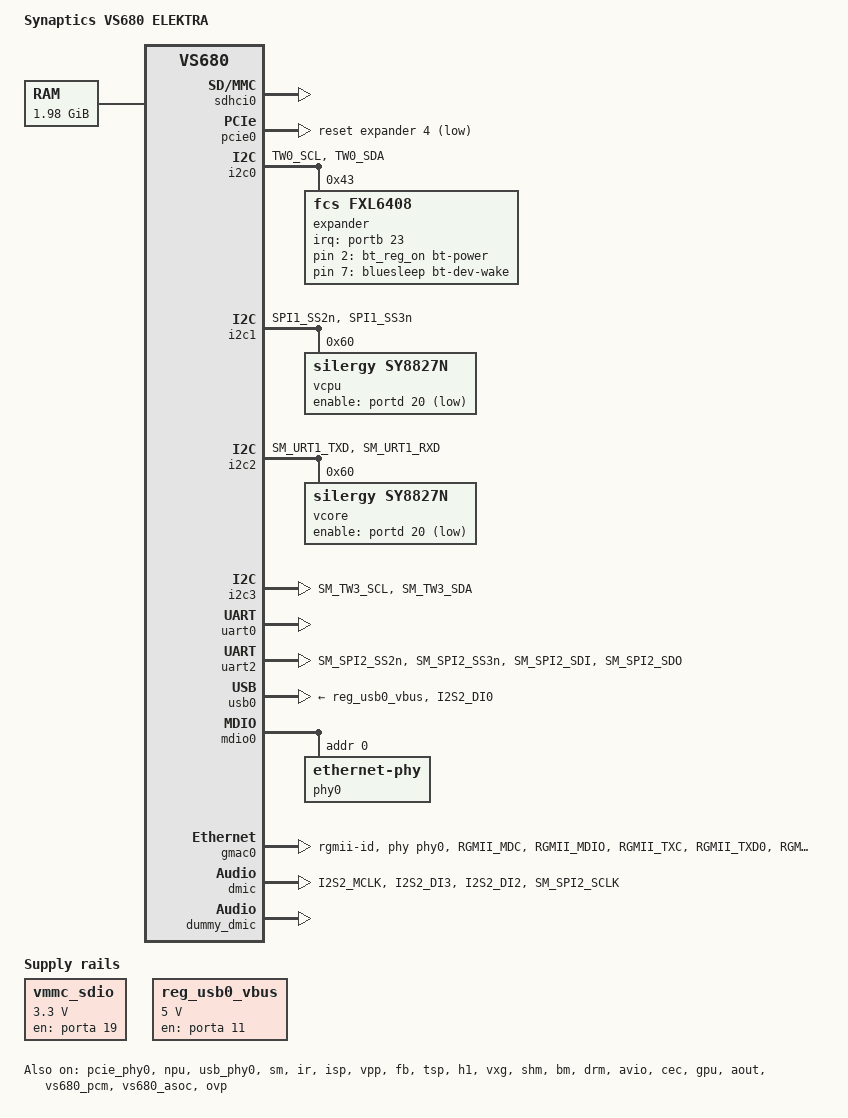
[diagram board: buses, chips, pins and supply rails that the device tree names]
// SPDX-License-Identifier: (GPL-2.0 OR MIT)
/*
 * Copyright (C) 2020 Synaptics Incorporated
 *
 * Author: Jisheng Zhang <jszhang@kernel.org>
 */

/dts-v1/;

/memreserve/ 0x7f000000 0x01000000;

#include <dt-bindings/gpio/gpio.h>

#include "vs680-a0.dtsi"

/ {
	model = "Synaptics VS680 ELEKTRA";
	compatible = "syna,vs680-elektra", "syna,vs680";

	cpus {
		cpu@0 {
			cpu0-supply = <&vcpu>;
		};
	};

	chosen {
		stdout-path = "serial0:115200n8";
	};

	memory {
		device_type = "memory";
		reg = <0 0x01000000 0 0x7f000000>;
	};

	reserved-memory {
		#address-cells = <2>;
		#size-cells = <2>;
		ranges;

		ramoops@f901c000{
			compatible = "ramoops";
			reg = <0x0 0xf901c000 0x0 0x4000>;
			record-size = <0x4000>;
		};
	};

	ion {
		compatible = "syna,ion-berlin-heaps";
		pool-num = <2>;
		reg-names = "NonSecure", "Secure";
		reg = <0 0x7f000000 0 0x00800000>,
		      <0 0x7f800000 0 0x00800000>;
		attributes-num-per-pool = <2>;
		pool-attributes = <0x00000105 0x00000F3A 0x00000102 0x00000F3D>;
	};

	regulators {
		compatible = "simple-bus";
		#address-cells = <1>;
		#size-cells = <0>;

		vmmc_sdio: vmmc_sdio {
			compatible = "regulator-fixed";
			regulator-min-microvolt = <3300000>;
			regulator-max-microvolt = <3300000>;
			regulator-name = "vmmc_sdio";
			enable-active-high;
			gpio = <&porta 19 GPIO_ACTIVE_HIGH>;
		};

		reg_usb0_vbus: usb0_vbus {
			compatible = "regulator-fixed";
			regulator-name = "usb0_vbus";
			regulator-min-microvolt = <5000000>;
			regulator-max-microvolt = <5000000>;
			gpio = <&porta 11 GPIO_ACTIVE_HIGH>;
			enable-active-high;
		};
	};

	bt_reg_on: bt_reg_on {
		compatible = "syna,rfkill";
		bt-power-gpio = <&expander 2 GPIO_ACTIVE_HIGH>;
	};

	bluesleep: bluesleep {
		compatible = "syna,bluesleep";
		bt-dev-wake-gpio = <&expander 7 GPIO_ACTIVE_HIGH>;
	};
};

&pinctrl {
	gmac0_pmux: gmac0-pmux {
		groups = "RGMII_MDC", "RGMII_MDIO", "RGMII_TXC", "RGMII_TXD0", "RGMII_TXD1", "RGMII_TXD2", "RGMII_TXD3", "RGMII_TXCTL", "RGMII_RXC", "RGMII_RXD0", "RGMII_RXD1", "RGMII_RXD2", "RGMII_RXD3", "RGMII_RXCTL";
		function = "rgmii";
		drive-strength = <3>;
	};

	i2c0_pmux: i2c0-pmux {
		groups = "TW0_SCL", "TW0_SDA";
		function = "tw0";
		drive-strength = <7>;
	};

	i2c1_pmux: i2c1-pmux {
		groups = "SPI1_SS2n", "SPI1_SS3n";
		function = "tw1b";
		drive-strength = <3>;
	};

	isp_pmux: isp-pmux {
		groups = "SDIO_CDn", "SPI1_SS1n";
		function = "gpio";
	};

	expander_pmux: expander-pmux {
		groups = "USB2_DRV_VBUS";
		function = "gpio";
	};
};

&sm_pinctrl {
	i2c2_pmux: i2c2-pmux {
		groups = "SM_URT1_TXD", "SM_URT1_RXD";
		function = "tw2b";
		drive-strength = <7>;
	};

	i2c3_pmux: i2c3-pmux {
		groups = "SM_TW3_SCL", "SM_TW3_SDA";
		function = "tw3";
		drive-strength = <7>;
	};

	gmac0_gpio_pmux: gmac0_gpio-pmux {
		groups = "SM_TDO";
		function = "gpio";
		drive-strength = <3>;
	};

	uart2_pmux: uart2-pmux {
		groups = "SM_SPI2_SS2n", "SM_SPI2_SS3n", "SM_SPI2_SDI", "SM_SPI2_SDO";
		function = "uart2";
		drive-strength = <3>;
	};

	pmic_pmux: pmic-pmux {
		groups = "SM_HDMIRX_HPD";
		function = "gpio";
		drive-strength = <7>;
	};

	dmic_pmux: dmic-pmux {
		groups = "SM_SPI2_SCLK";
		function = "gpio";
		drive-strength = <7>;
	};
};

&avio_pinctrl {
	usb0_pmux: usb0-pmux {
		groups = "I2S2_DI0";
		function = "gpio";
	};

	pdm_pmux: pdm-pmux {
		groups = "I2S2_MCLK", "I2S2_DI3", "I2S2_DI2";
		function = "pdm";
	};
};

&sdhci0 {
	status = "okay";
	sdclkdl-dc = /bits/ 8 <26>;
	mmc-ddr-1_8v;
	mmc-hs200-1_8v;
	mmc-hs400-1_8v;
	mmc-hs400-enhanced-strobe;
	dll-calibration;
};

&pcie_phy0 {
	status = "okay";
};

&pcie0 {
	status = "okay";
	reset-gpios = <&expander 4 GPIO_ACTIVE_LOW>;
	enable-gpios = <&expander 3 GPIO_ACTIVE_HIGH>;
};

&i2c0 {
	status = "okay";
	pinctrl-names = "default";
	pinctrl-0 = <&i2c0_pmux>;

	expander: gpio@43 {
		compatible = "fcs,fxl6408";
		pinctrl-names = "default";
		pinctrl-0 = <&expander_pmux>;
		reg = <0x43>;
		gpio-controller;
		#gpio-cells = <2>;
		interrupt-parent = <&portb>;
		interrupts = <23 IRQ_TYPE_NONE>;
		interrupt-controller;
		#interrupt-cells = <2>;
	};
};

&i2c1 {
	status = "okay";
	pinctrl-names = "default";
	pinctrl-0 = <&i2c1_pmux>;

	vcpu: regulator@60 {
		compatible = "silergy,sy8827n";
		pinctrl-names = "default";
		pinctrl-0 = <&pmic_pmux>;
		regulator-name = "vcpu";
		regulator-min-microvolt = <700000>;
		regulator-max-microvolt = <987500>;
		regulator-always-on;
		regulator-boot-on;
		enable-gpios = <&portd 20 GPIO_ACTIVE_LOW>;
		silergy,vsel-step = <1>;
		reg = <0x60>;
	};
};

&i2c2 {
	status = "okay";
	pinctrl-names = "default";
	pinctrl-0 = <&i2c2_pmux>;

	vcore: regulator@60 {
		compatible = "silergy,sy8827n";
		regulator-name = "vcore";
		regulator-min-microvolt = <700000>;
		regulator-max-microvolt = <937500>;
		regulator-always-on;
		pinctrl-names = "default";
		pinctrl-0 = <&pmic_pmux>;
		enable-gpios = <&portd 20 GPIO_ACTIVE_LOW>;
		regulator-boot-on;
		silergy,vsel-step = <1>;
		reg = <0x60>;
	};
};

&i2c3 {
	status = "okay";
	pinctrl-names = "default";
	pinctrl-0 = <&i2c3_pmux>;
};

&uart0 {
	status = "okay";
};

&uart2 {
	status = "okay";
	pinctrl-0 = <&uart2_pmux>;
	pinctrl-names = "default";
};

&npu {
	status = "okay";
};

&usb0 {
	vbus-supply = <&reg_usb0_vbus>;
	pinctrl-names = "default";
	pinctrl-0 = <&usb0_pmux>;
	status = "okay";
};

&usb_phy0  {
	status = "okay";
};

&mdio0 {
	phy0: ethernet-phy@0 {
		reg = <0>;
	};
};

&gmac0 {
	status = "okay";
	pinctrl-0 = <&gmac0_pmux>, <&gmac0_gpio_pmux>;
	pinctrl-names = "default";
	phy-handle = <&phy0>;
	phy-mode = "rgmii-id";
	snps,reset-gpio = <&portd 8 GPIO_ACTIVE_LOW>;
	snps,reset-delays-us = <0 10000 50000>;
};

&sm {
	status = "okay";
};

&ir {
	status = "okay";
};

&isp {
	status = "okay";
	pinctrl-names = "default";
	pinctrl-0 = <&isp_pmux>;
	enable-gpios = <&portc 13 GPIO_ACTIVE_HIGH>, <&portc 21 GPIO_ACTIVE_HIGH>;
};

&vpp {
	status = "okay";
};

&fb {
	status = "okay";
};

&tsp {
	status = "okay";
};

&h1 {
	status = "okay";
};

&vxg {
	status = "okay";
};

&shm {
	status = "okay";
};

&bm {
	status = "okay";
};

&drm {
	status = "okay";
};

&avio {
	status = "okay";
};

&cec {
	status = "okay";
};

&axi_mc0 {
	status = "okay";
};

&gpu {
	status = "okay";
};

&aout {
	status = "okay";
};

&dmic {
	status = "okay";
	pinctrl-0 = <&pdm_pmux>, <&dmic_pmux>;
	pinctrl-names = "default";
	enable-gpios = <&portd 11 GPIO_ACTIVE_HIGH>;
	pdm-type = <1>;
	pdm-clk-sel = <2>;
};

&vs680_pcm {
	status = "okay";
};

&vs680_asoc {
	status = "okay";

	dummy_dmic: dummy-dmic {
		status = "okay";
		stream-name = "dummy-dmic";
		link-name = "dummy-dmic";
		cpu-node = <&dmic>;
		codec-name = "snd-soc-dummy";
		codec-dai-name = "snd-soc-dummy-dai";
		platform-node = <&vs680_pcm>;
	};
};

&ovp {
	status = "okay";
};
